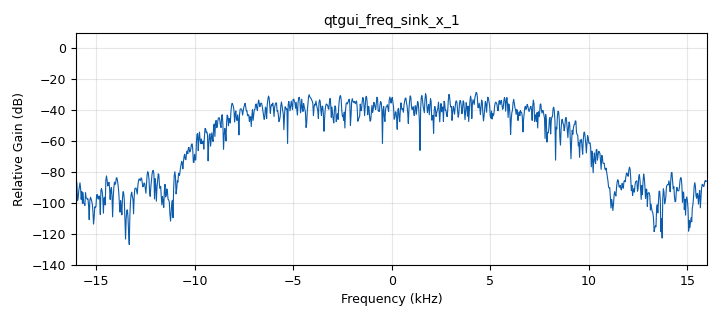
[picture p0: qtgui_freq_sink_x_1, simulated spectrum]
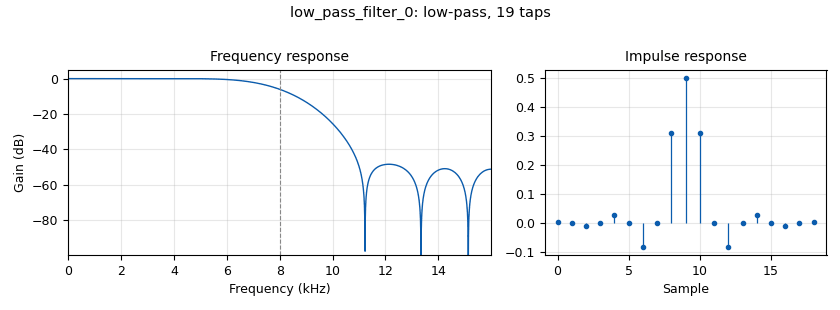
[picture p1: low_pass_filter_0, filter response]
options:
  parameters:
    author: yuichkun
    generate_options: qt_gui
    id: lowPassFilter
    output_language: python
    title: Not titled yet
  states: {}

blocks:
- name: frequency
  id: variable_qtgui_range
  parameters:
    start: '-samp_rate / 2'
    step: '1'
    stop: samp_rate / 2
    value: '0'
  states: {}
- name: samp_rate
  id: variable
  parameters:
    value: '32000'
  states: {}
- name: analog_noise_source_x_0
  id: analog_noise_source_x
  parameters:
    amp: '1'
    noise_type: analog.GR_GAUSSIAN
    seed: '0'
    type: complex
  states: {}
- name: blocks_throttle2_1
  id: blocks_throttle2
  parameters:
    samples_per_second: samp_rate
    type: complex
  states: {}
- name: low_pass_filter_0
  id: low_pass_filter
  parameters:
    cutoff_freq: samp_rate / 4
    decim: '1'
    gain: '1'
    samp_rate: samp_rate
    type: fir_filter_ccf
    width: samp_rate / 8
    win: window.WIN_HAMMING
  states: {}
- name: qtgui_freq_sink_x_1
  id: qtgui_freq_sink_x
  parameters:
    bw: samp_rate
    fc: '0'
    fftsize: '1024'
    type: complex
  states: {}

connections:
- [analog_noise_source_x_0, '0', low_pass_filter_0, '0']
- [blocks_throttle2_1, '0', qtgui_freq_sink_x_1, '0']
- [low_pass_filter_0, '0', blocks_throttle2_1, '0']

metadata:
  file_format: 1
  grc_version: 3.10.10.0
